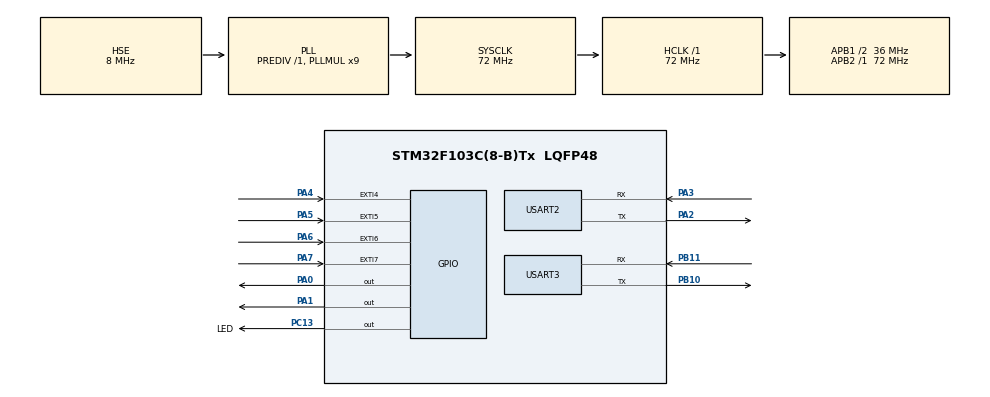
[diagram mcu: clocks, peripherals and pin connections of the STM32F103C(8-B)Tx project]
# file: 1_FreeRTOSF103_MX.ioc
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FREERTOS.BinarySemaphores01=binarySem,Dynamic,NULL,Available
FREERTOS.Tasks01=Task_main,32,128,Task_main_start,Default,NULL,Dynamic,NULL,NULL;Scan,16,128,vTaskScan,Default,NULL,Dynamic,NULL,NULL;usartTask,8,128,vTaskusartTask,Default,NULL,Dynamic,NULL,NULL;Onenet,8,1024,vTaskOnenet,Default,NULL,Dynamic,NULL,NULL
FREERTOS.configTOTAL_HEAP_SIZE=10000
Mcu.Family=STM32F1
Mcu.Name=STM32F103C(8-B)Tx
Mcu.Package=LQFP48
NVIC.PriorityGroup=NVIC_PRIORITYGROUP_4
NVIC.TIM2_IRQn=true\:15\:0\:false\:false\:true\:false\:false\:true\:true
NVIC.TimeBase=TIM2_IRQn
NVIC.TimeBaseIP=TIM2
NVIC.USART2_IRQn=true\:5\:0\:false\:false\:true\:true\:true\:true\:true
NVIC.USART3_IRQn=true\:5\:0\:false\:false\:true\:true\:true\:true\:true
PA0-WKUP.PinState=GPIO_PIN_SET
PA0-WKUP.Signal=GPIO_Output
PA1.PinState=GPIO_PIN_SET
PA1.Signal=GPIO_Output
PA13.Mode=Serial_Wire
PA13.Signal=SYS_JTMS-SWDIO
PA14.Mode=Serial_Wire
PA14.Signal=SYS_JTCK-SWCLK
PA2.Mode=Asynchronous
PA2.Signal=USART2_TX
PA3.Mode=Asynchronous
PA3.Signal=USART2_RX
PA4.GPIO_PuPd=GPIO_PULLDOWN
PA4.Signal=GPXTI4
PA5.GPIO_PuPd=GPIO_PULLDOWN
PA5.Signal=GPXTI5
PA6.GPIO_PuPd=GPIO_PULLDOWN
PA6.Signal=GPXTI6
PA7.GPIO_PuPd=GPIO_PULLDOWN
PA7.Signal=GPXTI7
PB10.Mode=Asynchronous
PB10.Signal=USART3_TX
PB11.Mode=Asynchronous
PB11.Signal=USART3_RX
PC13-TAMPER-RTC.GPIO_Label=LED
PC13-TAMPER-RTC.PinState=GPIO_PIN_SET
PC13-TAMPER-RTC.Signal=GPIO_Output
PD0-OSC_IN.Mode=HSE-External-Oscillator
PD0-OSC_IN.Signal=RCC_OSC_IN
PD1-OSC_OUT.Mode=HSE-External-Oscillator
PD1-OSC_OUT.Signal=RCC_OSC_OUT
ProjectManager.HeapSize=0x200
ProjectManager.StackSize=0x400
ProjectManager.TargetToolchain=MDK-ARM V5.32
RCC.AHBFreq_Value=72000000
RCC.APB1CLKDivider=RCC_HCLK_DIV2
RCC.APB1Freq_Value=36000000
RCC.APB1TimFreq_Value=72000000
RCC.APB2Freq_Value=72000000
RCC.APB2TimFreq_Value=72000000
RCC.HCLKFreq_Value=72000000
RCC.PLLMUL=RCC_PLL_MUL9
RCC.PLLSourceVirtual=RCC_PLLSOURCE_HSE
RCC.SYSCLKFreq_VALUE=72000000
RCC.SYSCLKSource=RCC_SYSCLKSOURCE_PLLCLK
RCC.USBFreq_Value=72000000
USART2.VirtualMode=VM_ASYNC
USART3.VirtualMode=VM_ASYNC
VP_FREERTOS_VS_CMSIS_V2.Mode=CMSIS_V2
VP_SYS_VS_tim2.Mode=TIM2
board=custom

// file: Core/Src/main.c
/* USER CODE BEGIN Header */
/**
  ******************************************************************************
  * @file           : main.c
  * @brief          : Main program body
  ******************************************************************************
  * @attention
  *
  * Copyright (c) 2025 STMicroelectronics.
  * All rights reserved.
  *
  * This software is licensed under terms that can be found in the LICENSE file
  * in the root directory of this software component.
  * If no LICENSE file comes with this software, it is provided AS-IS.
  *
  ******************************************************************************
  */
/* USER CODE END Header */
#include "main.h"
#include "cmsis_os.h"
#include "usart.h"
#include "gpio.h"

/* USER CODE BEGIN Includes */
#include "FreeRTOS.h"
#include "math.h"
/* USER CODE END Includes */

void SystemClock_Config(void);
void MX_FREERTOS_Init(void);

int main(void)
{

  /* MCU Configuration--------------------------------------------------------*/

  /* Reset of all peripherals, Initializes the Flash interface and the Systick. */
  HAL_Init();

  /* Configure the system clock */
  SystemClock_Config();

  /* Initialize all configured peripherals */
  MX_GPIO_Init();
  MX_USART3_UART_Init();
  MX_USART2_UART_Init();

  /* Init scheduler */
  osKernelInitialize();

  /* Call init function for freertos objects (in cmsis_os2.c) */
  MX_FREERTOS_Init();

  /* Start scheduler */
  osKernelStart();

  /* We should never get here as control is now taken by the scheduler */

  /* Infinite loop */
  while (1)
  {

  }
}

void SystemClock_Config(void)
{
  RCC_OscInitTypeDef RCC_OscInitStruct = {0};
  RCC_ClkInitTypeDef RCC_ClkInitStruct = {0};

  /** Initializes the RCC Oscillators according to the specified parameters
  * in the RCC_OscInitTypeDef structure.
  */
  RCC_OscInitStruct.OscillatorType = RCC_OSCILLATORTYPE_HSE;
  RCC_OscInitStruct.HSEState = RCC_HSE_ON;
  RCC_OscInitStruct.HSEPredivValue = RCC_HSE_PREDIV_DIV1;
  RCC_OscInitStruct.HSIState = RCC_HSI_ON;
  RCC_OscInitStruct.PLL.PLLState = RCC_PLL_ON;
  RCC_OscInitStruct.PLL.PLLSource = RCC_PLLSOURCE_HSE;
  RCC_OscInitStruct.PLL.PLLMUL = RCC_PLL_MUL9;
  if (HAL_RCC_OscConfig(&RCC_OscInitStruct) != HAL_OK)
  {
    Error_Handler();
  }

  /** Initializes the CPU, AHB and APB buses clocks
  */
  RCC_ClkInitStruct.ClockType = RCC_CLOCKTYPE_HCLK|RCC_CLOCKTYPE_SYSCLK
                              |RCC_CLOCKTYPE_PCLK1|RCC_CLOCKTYPE_PCLK2;
  RCC_ClkInitStruct.SYSCLKSource = RCC_SYSCLKSOURCE_PLLCLK;
  RCC_ClkInitStruct.AHBCLKDivider = RCC_SYSCLK_DIV1;
  RCC_ClkInitStruct.APB1CLKDivider = RCC_HCLK_DIV2;
  RCC_ClkInitStruct.APB2CLKDivider = RCC_HCLK_DIV1;

  if (HAL_RCC_ClockConfig(&RCC_ClkInitStruct, FLASH_LATENCY_2) != HAL_OK)
  {
    Error_Handler();
  }
}

void HAL_TIM_PeriodElapsedCallback(TIM_HandleTypeDef *htim)
{
  if (htim->Instance == TIM2) {
    HAL_IncTick();
  }
}

void Error_Handler(void)
{
  __disable_irq();
  while (1)
  {
  }
}

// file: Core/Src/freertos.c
/* USER CODE BEGIN Header */
/**
  ******************************************************************************
  * File Name          : freertos.c
  * Description        : Code for freertos applications
  ******************************************************************************
  * @attention
  *
  * Copyright (c) 2025 STMicroelectronics.
  * All rights reserved.
  *
  * This software is licensed under terms that can be found in the LICENSE file
  * in the root directory of this software component.
  * If no LICENSE file comes with this software, it is provided AS-IS.
  *
  ******************************************************************************
  */
/* USER CODE END Header */

#include "FreeRTOS.h"
#include "task.h"
#include "main.h"
#include "cmsis_os.h"

/* USER CODE BEGIN Includes */
#include "arm_math.h"
#include "HAL_usart.h"
#include "usart.h"
#include "esp8266.h"
#include "onenet.h"
#include "Mqttkit.h"
#include "stdio.h"

/* USER CODE END Includes */

/* USER CODE BEGIN PM */

double brightNess;    //鏄皬鐏殑浜害锛?1鏈?澶? 0鏈?灏?
extern char PUBLIS_BUF[256];
const char devPubTopic[] = "$sys/nw8lCCjUcu/System/thing/property/post";
uint16_t TimeCount = 0;

/* USER CODE END PM */

/* Definitions for Task_main */
osThreadId_t Task_mainHandle;
const osThreadAttr_t Task_main_attributes = {
  .name = "Task_main",
  .stack_size = 128 * 4,
  .priority = (osPriority_t) osPriorityAboveNormal,
};
/* Definitions for Scan */
osThreadId_t ScanHandle;
const osThreadAttr_t Scan_attributes = {
  .name = "Scan",
  .stack_size = 128 * 4,
  .priority = (osPriority_t) osPriorityBelowNormal,
};
/* Definitions for usartTask */
osThreadId_t usartTaskHandle;
const osThreadAttr_t usartTask_attributes = {
  .name = "usartTask",
  .stack_size = 128 * 4,
  .priority = (osPriority_t) osPriorityLow,
};
/* Definitions for Onenet */
osThreadId_t OnenetHandle;
const osThreadAttr_t Onenet_attributes = {
  .name = "Onenet",
  .stack_size = 1024 * 4,
  .priority = (osPriority_t) osPriorityLow,
};
/* Definitions for binarySem */
osSemaphoreId_t binarySemHandle;
const osSemaphoreAttr_t binarySem_attributes = {
  .name = "binarySem"
};

void Task_main_start(void *argument);
void vTaskScan(void *argument);
void vTaskusartTask(void *argument);
void vTaskOnenet(void *argument);

void MX_FREERTOS_Init(void); /* (MISRA C 2004 rule 8.1) */

void MX_FREERTOS_Init(void) {

  /* Create the semaphores(s) */
  /* creation of binarySem */
  binarySemHandle = osSemaphoreNew(1, 1, &binarySem_attributes);

  /* Create the thread(s) */
  /* creation of Task_main */
  Task_mainHandle = osThreadNew(Task_main_start, NULL, &Task_main_attributes);

  /* creation of Scan */
  ScanHandle = osThreadNew(vTaskScan, NULL, &Scan_attributes);

  /* creation of usartTask */
  usartTaskHandle = osThreadNew(vTaskusartTask, NULL, &usartTask_attributes);

  /* creation of Onenet */
  OnenetHandle = osThreadNew(vTaskOnenet, NULL, &Onenet_attributes);

}

void Task_main_start(void *argument)
{
  /* USER CODE BEGIN Task_main_start */
  /* Infinite loop */
  for(;;)
  {

  		for(uint8_t breath_val = 0 ;breath_val<100 ;breath_val++)
    {
      osDelay(60);
      brightNess = sin(breath_val * (3.14159265/100));
    }
      osDelay(1);
  }
  /* USER CODE END Task_main_start */
}

void vTaskScan(void *argument)
{
  /* USER CODE BEGIN vTaskScan */
  /* Infinite loop */
  for(;;)
  {

    // 尝试获取二进制信号量，等待时间为无限等待
    if(osSemaphoreAcquire(binarySemHandle, osWaitForever) == osOK )
    {

   			// 信号量获取成功，开始扫描流程
        // 读取GPIOA的PIN_1引脚状态
        if(HAL_GPIO_ReadPin(GPIOA, GPIO_PIN_1) == GPIO_PIN_SET)
        {
            // 如果引脚为高电平，将LED引脚设置为低电平(点亮LED)
            HAL_GPIO_WritePin(LED_GPIO_Port, LED_Pin, GPIO_PIN_RESET);
        }
        // 注意：如果引脚不为高电平，此处没有对应的处理逻辑
    }

    // 延时1毫秒，降低CPU使用率
    osDelay(1);
  }
  /* USER CODE END vTaskScan */
}

void vTaskusartTask(void *argument)
{
  for(;;)
  {
		osDelay(1);
  }
}

void vTaskOnenet(void *argument)
{
  /* USER CODE BEGIN vTaskOnenet */

// 在任务开始处 - 添加栈监控代码
  unsigned int uxHighWaterMark;
  uxHighWaterMark = uxTaskGetStackHighWaterMark(NULL);
  char stack_info[64];
  uint32_t lastPublishTime = 0;
  uint32_t lastPingTime = 0;
  uint8_t connected = 0;
  uint8_t publishErrorCount = 0; // 添加错误计数
  uint32_t lastReconnectTime = 0; // 添加重连时间记录

  HAL_usart_send(&huart3, "网络连接中\r\n");
  ESP8266_Init();
  HAL_Delay(1000);

// OneNet平台连接重试循环
  while(OneNet_DevLink())
  {
    // 连接失败后，延时500毫秒再次尝试连接
      osDelay(500);

    // 检查栈使用情况
      uxHighWaterMark = uxTaskGetStackHighWaterMark(NULL);
      sprintf(stack_info, "连接中栈剩余: %u\r\n", uxHighWaterMark);
      HAL_usart_send(&huart3, stack_info);
  }

  HAL_usart_send(&huart3, "网络连接成功\r\n");

// 连接成功后再次检查栈使用情况
  uxHighWaterMark = uxTaskGetStackHighWaterMark(NULL);
  sprintf(stack_info, "连接成功后栈剩余: %u\r\n", uxHighWaterMark);
  HAL_usart_send(&huart3, stack_info);

  connected = 1;
  lastReconnectTime = HAL_GetTick();
  osDelay(3000);

  /* Infinite loop */
  for(;;)
  {
    /* 检查连接状态 */
      if(!connected)
      {
          HAL_usart_send(&huart3, "重连中...\r\n");

        // 1. 完全重置ESP8266，比单纯清除缓冲区更彻底
          ESP8266_Init(); // 重新初始化ESP8266
          HAL_Delay(2000); // 给ESP8266足够的重启时间

        // 2. 添加重连超时保护
          uint8_t reconnectAttempts = 0;
          uint8_t maxAttempts = 5;

        // 这里具体动用了OneNet_DevLink()进行连接
          while(OneNet_DevLink() && reconnectAttempts < maxAttempts)
          {
              reconnectAttempts++;
              HAL_usart_send(&huart3, "重连尝试...\r\n");
              osDelay(1000); // 延长重连间隔，给更多恢复时间

          }

        // 3. 检查是否重连成功
          if(reconnectAttempts < maxAttempts)
          {
              HAL_usart_send(&huart3, "重连成功\r\n");
              connected = 1;
              lastPingTime = 0;
              publishErrorCount = 0;
              lastReconnectTime = HAL_GetTick();

          }

          else
          {
              HAL_usart_send(&huart3, "重连失败，稍后重试\r\n");
            // 重连失败后等待更长时间再重试，确保一定连上
              osDelay(5000);

          }
      }

    /* 每10秒发送一次心跳包 */
      if(HAL_GetTick() - lastPingTime >= 10000)
      {
        // 确保心跳包功能启用
          OneNet_Ping();
          lastPingTime = HAL_GetTick();

      }

    /* 每5s进一次这个逻辑 */
      if(HAL_GetTick() - lastPublishTime >= 5000)
      {
          JsonValue();
          OneNet_Publish(devPubTopic, PUBLIS_BUF); // 发布数据

        // 4. 调整重连策略：降低重连频率
          publishErrorCount++;

        // 5. 仅在长时间无重连时触发定期重连，避免过于频繁
          if((HAL_GetTick() - lastReconnectTime >= 30000)) // 30秒
          {
              HAL_usart_send(&huart3, "定期重连...\r\n");
              connected = 0; // 触发重连

          }

        // 6. 只有在心跳包也失效的情况下才基于错误计数重连
          else if(publishErrorCount >= 60) // 约5分钟的发布次数
          {
              HAL_usart_send(&huart3, "发布异常，尝试重连...\r\n");
              connected = 0;

          }

          ESP8266_Clear();
          lastPublishTime = HAL_GetTick();
      }

    osDelay(100);
  }
  /* USER CODE END vTaskOnenet */
}
